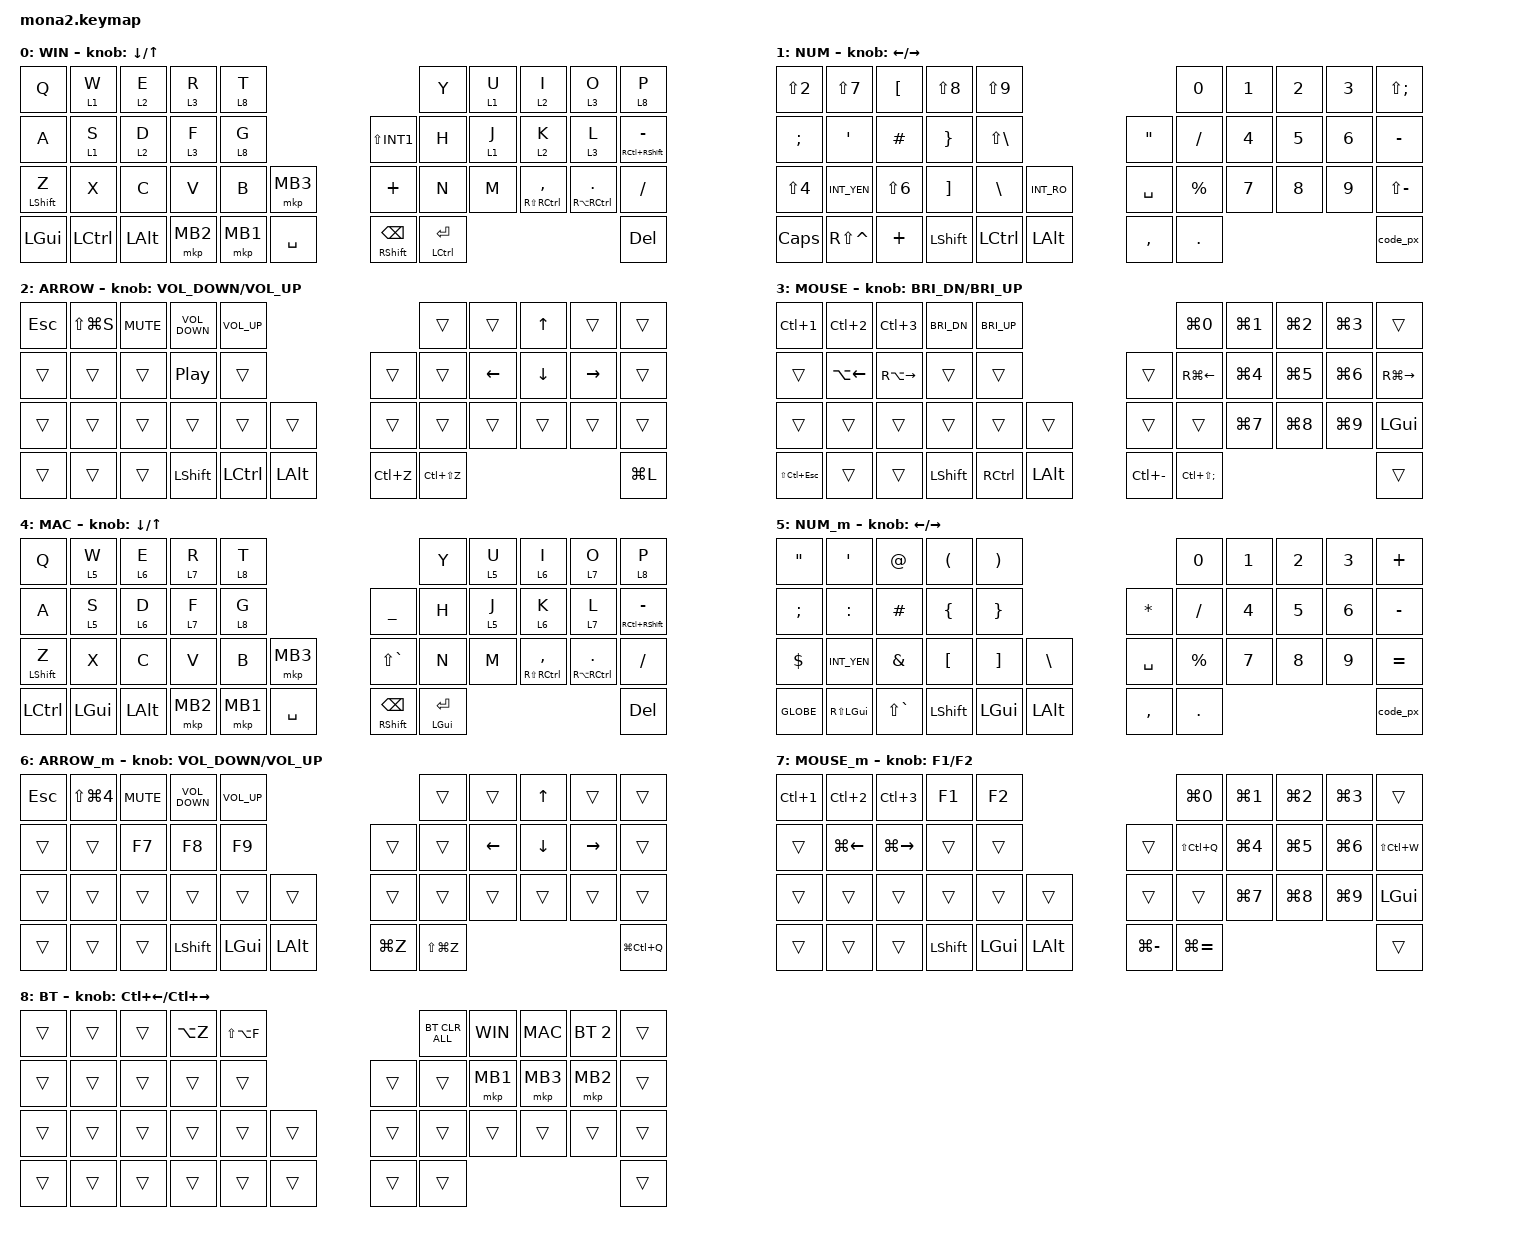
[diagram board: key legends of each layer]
#include <input/processors.dtsi>
#include <dt-bindings/zmk/input_transform.h>
#include <zephyr/dt-bindings/input/input-event-codes.h>
#include <behaviors.dtsi>
#include <dt-bindings/zmk/bt.h>
#include <dt-bindings/zmk/keys.h>
#include <dt-bindings/zmk/pointing.h>

#define MOUSE 5
#define SCROLL 6

&mt {
    flavor = "balanced";
    quick-tap-ms = <0>;
};

&lt {
    quick-tap-ms = <300>;
    flavor = "balanced";
};

/ {
    combos {
        compatible = "zmk,combos";

        tab {
            bindings = <&kp TAB>;
            key-positions = <12 13>;
        };

        shift_tab {
            bindings = <&kp LS(TAB)>;
            key-positions = <11 12>;
        };

        lang1 {
            bindings = <&kp LANG1>;
            key-positions = <7 8>;
        };

        lang2 {
            bindings = <&kp LANG2>;
            key-positions = <6 7>;
        };

        nami {
            bindings = <&kp PLUS>;
            key-positions = <29 30>;
        };

        big {
            bindings = <&kp EXCLAMATION>;
            key-positions = <30 31>;
        };

        hatena {
            bindings = <&kp QUESTION>;
            key-positions = <32 31>;
        };

        click {
            bindings = <&mkp MB1>;
            key-positions = <17 18>;
        };

        click2 {
            bindings = <&mkp MB2>;
            key-positions = <18 19>;
        };

        kakko {
            bindings = <&kp LS(NUMBER_8)>;
            key-positions = <1 2>;
        };

        kakko2 {
            bindings = <&kp LS(N9)>;
            key-positions = <2 3>;
        };
    };

    macros {
        to_layer_0: to_layer_0 {
            compatible = "zmk,behavior-macro-one-param";
            #binding-cells = <1>;
            bindings = <&to 0 &macro_param_1to1 &kp MACRO_PLACEHOLDER>;
            label = "TO_LAYER_0";
        };

        code_px: new_macro {
            compatible = "zmk,behavior-macro";
            #binding-cells = <0>;
            bindings = <&kp LANG2 &kp P &kp X>;
            label = "NEW_MACRO";
        };

        WIN: WIN {
            compatible = "zmk,behavior-macro";
            #binding-cells = <0>;
            bindings = <&bt BT_SEL 0 &to 0>;
            label = "WIN";
        };

        MAC: MAC {
            compatible = "zmk,behavior-macro";
            #binding-cells = <0>;
            bindings = <&bt BT_SEL 1 &to 4>;
            label = "MAC";
        };
    };

    behaviors {
        lt_to_layer_0: lt_to_layer_0 {
            compatible = "zmk,behavior-hold-tap";
            label = "LAYER_TAP_TO_0";
            bindings = <&mo>, <&to_layer_0>;

            #binding-cells = <2>;
            tapping-term-ms = <200>;
        };

        scroll_up_down: mouse_wheel_up_down {
            compatible = "zmk,behavior-sensor-rotate";
            #sensor-binding-cells = <0>;
            bindings = <&msc SCRL_DOWN>, <&msc SCRL_UP>;

            tap-ms = <20>;
        };

        scroll_right_left: mouse_wheel_right_left {
            compatible = "zmk,behavior-sensor-rotate";
            #sensor-binding-cells = <0>;
            bindings = <&msc SCRL_LEFT>, <&msc SCRL_RIGHT>;

            tap-ms = <20>;
        };
    };

    keymap {
        compatible = "zmk,keymap";

        WIN {
            bindings = <
&kp Q             &lt 1 W    &lt 2 E       &lt 3 R   &lt 8 T                                           &kp Y            &lt 1 U  &lt 2 I              &lt 3 O               &lt 8 P
&kp A             &lt 1 S    &lt 2 D       &lt 3 F   &lt 8 G                &kp LS(INT1)               &kp H            &lt 1 J  &lt 2 K              &lt 3 L               &mt RC(RIGHT_SHIFT) MINUS
&mt LEFT_SHIFT Z  &kp X      &kp C         &kp V     &kp B     &mkp MB3     &kp PLUS                   &kp N            &kp M    &mt RS(RCTRL) COMMA  &mt RA(RCTRL) PERIOD  &kp SLASH
&kp LEFT_GUI      &kp LCTRL  &kp LEFT_ALT  &mkp MB2  &mkp MB1  &kp SPACE    &mt RIGHT_SHIFT BACKSPACE  &mt LCTRL ENTER                                                      &kp DEL
            >;

            sensor-bindings = <&inc_dec_kp DOWN_ARROW UP_ARROW>;
        };

        NUM {
            bindings = <
&kp LS(NUMBER_2)  &kp LS(NUMBER_7)  &kp LEFT_BRACKET  &kp LS(NUMBER_8)   &kp LS(NUMBER_9)                                    &kp N0       &kp N1  &kp N2  &kp N3  &kp LS(SEMICOLON)
&kp SEMI          &kp SINGLE_QUOTE  &kp POUND         &kp RIGHT_BRACE    &kp LS(BACKSLASH)                &kp DOUBLE_QUOTES  &kp SLASH    &kp N4  &kp N5  &kp N6  &kp MINUS
&kp LS(NUMBER_4)  &kp INT_YEN       &kp LS(NUMBER_6)  &kp RIGHT_BRACKET  &kp BACKSLASH      &kp INT_RO    &kp SPACE          &kp PERCENT  &kp N7  &kp N8  &kp N9  &kp LS(MINUS)
&kp CAPS          &kp RS(CARET)     &kp PLUS          &kp LSHFT          &kp LCTRL          &kp LALT      &kp COMMA          &kp PERIOD                           &code_px
            >;

            sensor-bindings = <&inc_dec_kp LEFT_ARROW RIGHT_ARROW>;
        };

        ARROW {
            bindings = <
&kp ESCAPE  &kp LS(LG(S))  &kp C_MUTE  &kp C_VOLUME_DOWN  &kp C_VOLUME_UP                         &trans         &trans    &kp UP    &trans           &trans
&trans      &trans         &trans      &kp C_PP           &trans                       &trans     &trans         &kp LEFT  &kp DOWN  &kp RIGHT_ARROW  &trans
&trans      &trans         &trans      &trans             &trans           &trans      &trans     &trans         &trans    &trans    &trans           &trans
&trans      &trans         &trans      &kp LEFT_SHIFT     &kp LCTRL        &kp LALT    &kp LC(Z)  &kp LC(LS(Z))                                       &kp LG(L)
            >;

            sensor-bindings = <&inc_dec_kp C_VOLUME_DOWN C_VOLUME_UP>;
        };

        MOUSE {
            bindings = <
&kp LC(NUMBER_1)  &kp LC(N2)    &kp LC(N3)           &kp C_BRI_DN  &kp C_BRI_UP                             &kp LG(N0)             &kp LG(NUMBER_1)  &kp LG(N2)  &kp LG(N3)  &trans
&trans            &kp LA(LEFT)  &kp RA(RIGHT_ARROW)  &trans        &trans                    &trans         &kp RG(LEFT_ARROW)     &kp LG(N4)        &kp LG(N5)  &kp LG(N6)  &kp RG(RIGHT_ARROW)
&trans            &trans        &trans               &trans        &trans        &trans      &trans         &trans                 &kp LG(N7)        &kp LG(N8)  &kp LG(N9)  &kp LGUI
&kp LS(LC(ESC))   &trans        &trans               &kp LSHFT     &kp RCTRL     &kp LALT    &kp LC(MINUS)  &kp LC(LS(SEMICOLON))                                            &trans
            >;

            sensor-bindings = <&inc_dec_kp C_BRI_DN C_BRI_UP>;
        };

        MAC {
            bindings = <
&kp Q             &lt 5 W       &lt 6 E       &lt 7 R   &lt 8 T                                           &kp Y               &lt 5 U  &lt 6 I              &lt 7 O               &lt 8 P
&kp A             &lt 5 S       &lt 6 D       &lt 7 F   &lt 8 G                &kp UNDER                  &kp H               &lt 5 J  &lt 6 K              &lt 7 L               &mt RC(RIGHT_SHIFT) MINUS
&mt LEFT_SHIFT Z  &kp X         &kp C         &kp V     &kp B     &mkp MB3     &kp LS(GRAVE)              &kp N               &kp M    &mt RS(RCTRL) COMMA  &mt RA(RCTRL) PERIOD  &kp SLASH
&kp LEFT_CONTROL  &kp LEFT_GUI  &kp LEFT_ALT  &mkp MB2  &mkp MB1  &kp SPACE    &mt RIGHT_SHIFT BACKSPACE  &mt LEFT_GUI ENTER                                                      &kp DEL
            >;

            sensor-bindings = <&inc_dec_kp DOWN_ARROW UP_ARROW>;
        };

        NUM_m {
            bindings = <
&kp DQT     &kp SINGLE_QUOTE  &kp AT_SIGN    &kp LEFT_PARENTHESIS  &kp RIGHT_PARENTHESIS                                 &kp N0       &kp N1  &kp N2  &kp N3  &kp PLUS
&kp SEMI    &kp COLON         &kp POUND      &kp LEFT_BRACE        &kp RIGHT_BRACE                         &kp ASTERISK  &kp SLASH    &kp N4  &kp N5  &kp N6  &kp MINUS
&kp DOLLAR  &kp INT_YEN       &kp AMPERSAND  &kp LEFT_BRACKET      &kp RIGHT_BRACKET      &kp BACKSLASH    &kp SPACE     &kp PERCENT  &kp N7  &kp N8  &kp N9  &kp EQUAL
&kp GLOBE   &kp RS(LEFT_GUI)  &kp LS(GRAVE)  &kp LSHFT             &kp LEFT_GUI           &kp LALT         &kp COMMA     &kp PERIOD                           &code_px
            >;

            sensor-bindings = <&inc_dec_kp LEFT_ARROW RIGHT_ARROW>;
        };

        ARROW_m {
            bindings = <
&kp ESCAPE  &kp LS(LG(NUMBER_4))  &kp K_MUTE  &kp C_VOLUME_DOWN  &kp C_VOLUME_UP                         &trans         &trans    &kp UP    &trans           &trans
&trans      &trans                &kp F7      &kp F8             &kp F9                       &trans     &trans         &kp LEFT  &kp DOWN  &kp RIGHT_ARROW  &trans
&trans      &trans                &trans      &trans             &trans           &trans      &trans     &trans         &trans    &trans    &trans           &trans
&trans      &trans                &trans      &kp LSHFT          &kp LEFT_GUI     &kp LALT    &kp LG(Z)  &kp LS(LG(Z))                                       &kp LG(LC(Q))
            >;

            sensor-bindings = <&inc_dec_kp C_VOLUME_DOWN C_VOLUME_UP>;
        };

        MOUSE_m {
            bindings = <
&kp LC(NUMBER_1)  &kp LC(N2)    &kp LC(N3)           &kp F1     &kp F2                                   &kp LG(N0)     &kp LG(NUMBER_1)  &kp LG(N2)  &kp LG(N3)  &trans
&trans            &kp LG(LEFT)  &kp LG(RIGHT_ARROW)  &trans     &trans                    &trans         &kp LS(LC(Q))  &kp LG(N4)        &kp LG(N5)  &kp LG(N6)  &kp LS(LC(W))
&trans            &trans        &trans               &trans     &trans        &trans      &trans         &trans         &kp LG(N7)        &kp LG(N8)  &kp LG(N9)  &kp LGUI
&trans            &trans        &trans               &kp LSHFT  &kp LEFT_GUI  &kp LALT    &kp LG(MINUS)  &kp LG(EQUAL)                                            &trans
            >;

            sensor-bindings = <&inc_dec_kp F1 F2>;
        };

        BT {
            bindings = <
&trans  &trans  &trans  &kp LA(Z)  &kp LS(LA(F))                    &bt BT_CLR_ALL  &WIN      &MAC      &bt BT_SEL 2  &trans
&trans  &trans  &trans  &trans     &trans                   &trans  &trans          &mkp MB1  &mkp MB3  &mkp MB2      &trans
&trans  &trans  &trans  &trans     &trans         &trans    &trans  &trans          &trans    &trans    &trans        &trans
&trans  &trans  &trans  &trans     &trans         &trans    &trans  &trans                                            &trans
            >;

            sensor-bindings = <&inc_dec_kp LC(LEFT_ARROW) LC(RIGHT_ARROW)>;
        };
    };
};
